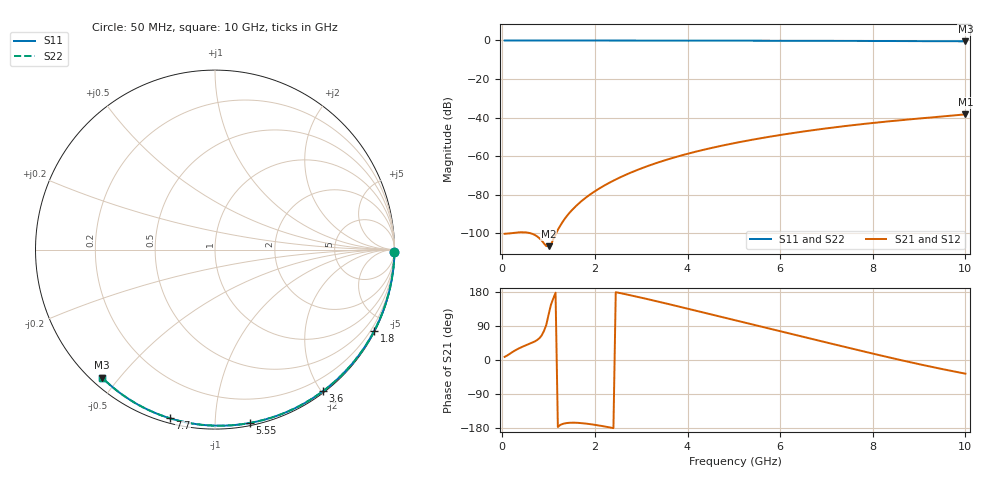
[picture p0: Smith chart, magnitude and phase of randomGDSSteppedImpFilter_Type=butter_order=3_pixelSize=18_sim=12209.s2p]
! freq	dB(S11)	phase(S11)	dB(S12)	phase(S12)
!  dB(S21)	phase(S21)	dB(S22)	phase(S22)
!S-par simulation data
#  GHz  S  DB  R 50
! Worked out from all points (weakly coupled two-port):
!   200 points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, 50 MHz to 10 GHz, reference 50 ohm
!   highest |S21| = -38.36 dB at 10 GHz (marker M1); lowest = -106.8 dB at 1 GHz (marker M2)
!   lowest |S11| = -0.4 dB at 10 GHz (marker M3), VSWR 39.74, Z = 1.51 - j22.5 ohm
!   |S11| at or under -10 dB: nowhere
!   |S22| runs from -0.4 to 0.0 dB; largest |S21 - S12| = 0
!   S11 on the Smith chart (normalised r, x): 50 MHz: open; 1.8 GHz: 0.04, -4.18; 3.6 GHz: 0.02, -2.02; 5.55 GHz: 0.02, -1.22; 7.7 GHz: 0.02, -0.77; 10 GHz: 0.03, -0.45
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0.05  -0.00 -0.8  -100.34 8.2  -100.34 8.2  -0.00 -0.8
0.5  -0.01 -7.6  -99.58 38.3  -99.58 38.3  -0.01 -7.6
1  -0.02 -15.1  -106.75 120.0  -106.75 120.0  -0.02 -15.1
1.75  -0.03 -26.2  -82.58 -167.1  -82.58 -167.1  -0.03 -26.2
1.8  -0.03 -26.9  -81.63 -167.7  -81.63 -167.7  -0.03 -26.9
1.9  -0.04 -28.4  -79.87 -169.3  -79.87 -169.3  -0.04 -28.4
2.05  -0.04 -30.6  -77.47 -172.1  -77.47 -172.1  -0.04 -30.6
2.25  -0.04 -33.5  -74.64 -176.3  -74.64 -176.3  -0.04 -33.5
2.65  -0.05 -39.3  -69.88 173.9  -69.88 173.9  -0.05 -39.3
3  -0.06 -44.3  -66.41 164.5  -66.41 164.5  -0.06 -44.3
3.4  -0.07 -49.9  -63.03 153.1  -63.03 153.1  -0.07 -49.9
3.6  -0.07 -52.7  -61.52 147.3  -61.52 147.3  -0.07 -52.7
3.9  -0.08 -56.8  -59.46 138.5  -59.46 138.5  -0.08 -56.8
4.3  -0.09 -62.2  -56.99 126.6  -56.99 126.6  -0.09 -62.2
5.05  -0.11 -72.2  -53.09 104.2  -53.09 104.2  -0.11 -72.2
5.55  -0.13 -78.7  -50.86 89.3  -50.86 89.3  -0.13 -78.7
6.1  -0.15 -85.6  -48.69 73.0  -48.69 73.0  -0.15 -85.6
6.7  -0.18 -93.1  -46.58 55.2  -46.58 55.2  -0.18 -93.1
7.7  -0.24 -105.1  -43.60 25.6  -43.60 25.6  -0.24 -105.1
8.35  -0.29 -112.6  -41.97 6.9  -41.97 6.9  -0.29 -112.6
9.15  -0.36 -121.8  -40.19 -15.0  -40.19 -15.0  -0.36 -121.8
10  -0.44 -131.4  -38.36 -36.1  -38.36 -36.1  -0.44 -131.4
